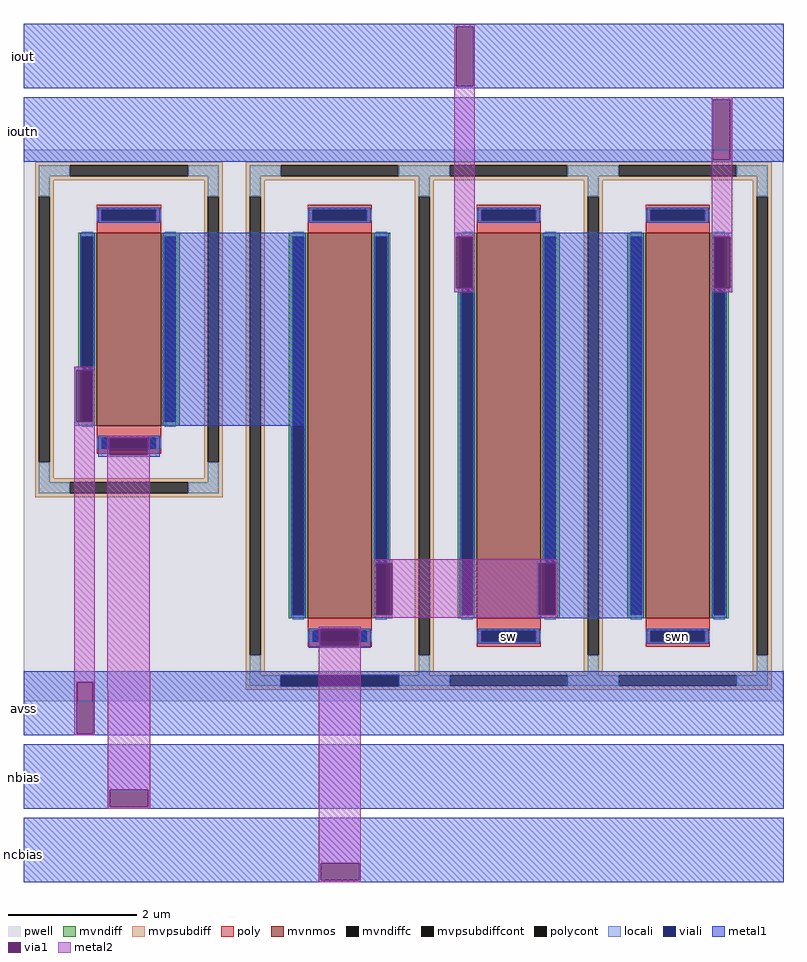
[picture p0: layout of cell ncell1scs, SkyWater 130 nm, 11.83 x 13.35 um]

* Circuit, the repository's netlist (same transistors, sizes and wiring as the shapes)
* NGSPICE file created from ncell1scs.ext - technology: sky130A

.subckt sky130_fd_pr__nfet_g5v0d10v5_D8TNYB a_n158_n300# a_n100_n388# a_100_n300#
+ a_n292_n522#
X0 a_100_n300# a_n100_n388# a_n158_n300# a_n292_n522# sky130_fd_pr__nfet_g5v0d10v5 ad=0.87 pd=6.58 as=0.87 ps=6.58 w=3 l=1
.ends

.subckt sky130_fd_pr__nfet_g5v0d10v5_BHMQGH a_n158_n600# a_n100_n688# a_100_n600#
+ a_n292_n822#
X0 a_100_n600# a_n100_n688# a_n158_n600# a_n292_n822# sky130_fd_pr__nfet_g5v0d10v5 ad=1.74 pd=12.58 as=1.74 ps=12.58 w=6 l=1
.ends

.subckt ncell1scs iout ioutn sw ncbias nbias avss swn
Xsky130_fd_pr__nfet_g5v0d10v5_D8TNYB_0 avss nbias m1_583_n1672# avss sky130_fd_pr__nfet_g5v0d10v5_D8TNYB
XXM1 iout sw m1_1239_n2272# avss sky130_fd_pr__nfet_g5v0d10v5_BHMQGH
XXM2 m1_1239_n2272# swn ioutn avss sky130_fd_pr__nfet_g5v0d10v5_BHMQGH
Xsky130_fd_pr__nfet_g5v0d10v5_BHMQGH_0 m1_583_n1672# ncbias m1_1239_n2272# avss sky130_fd_pr__nfet_g5v0d10v5_BHMQGH
.ends

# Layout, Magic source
magic
tech sky130A
magscale 1 2
<< pwell >>
rect 149 -2436 805 -1930
rect 1239 -2272 1811 -2088
rect 149 -2472 806 -2436
rect 149 -2530 805 -2472
<< viali >>
rect 949 -2483 1317 -2448
<< metal1 >>
rect 149 -430 2514 -422
rect 149 -616 1496 -430
rect 1548 -616 2514 -430
rect 149 -622 2514 -616
rect 149 -658 2514 -650
rect 149 -844 2294 -658
rect 2348 -844 2514 -658
rect 149 -850 2514 -844
rect 307 -1500 371 -1488
rect 307 -1660 313 -1500
rect 365 -1660 371 -1500
rect 307 -1672 371 -1660
rect 583 -1672 1027 -1072
rect 1490 -1084 1553 -1072
rect 1490 -1244 1495 -1084
rect 1547 -1244 1553 -1084
rect 1490 -1256 1553 -1244
rect 382 -1710 573 -1704
rect 382 -1763 416 -1710
rect 536 -1763 573 -1710
rect 382 -1769 573 -1763
rect 1765 -2088 2079 -1072
rect 2291 -1084 2354 -1072
rect 2291 -1244 2297 -1084
rect 2349 -1244 2354 -1084
rect 2291 -1256 2354 -1244
rect 1239 -2100 1297 -2088
rect 1239 -2260 1245 -2100
rect 1239 -2272 1297 -2260
rect 1747 -2100 2079 -2088
rect 1747 -2260 1753 -2100
rect 1805 -2260 2079 -2100
rect 1747 -2271 2079 -2260
rect 1765 -2272 2079 -2271
rect 1036 -2357 1073 -2304
rect 1193 -2357 1229 -2304
rect 1036 -2363 1229 -2357
rect 149 -2448 2514 -2436
rect 149 -2470 949 -2448
rect 149 -2630 314 -2470
rect 366 -2483 949 -2470
rect 1317 -2483 2514 -2448
rect 366 -2630 2514 -2483
rect 149 -2636 2514 -2630
rect 149 -2805 2514 -2664
rect 149 -2858 417 -2805
rect 537 -2858 2514 -2805
rect 149 -2864 2514 -2858
rect 149 -3033 2514 -2892
rect 149 -3086 1074 -3033
rect 1194 -3086 2514 -3033
rect 149 -3092 2514 -3086
<< via1 >>
rect 1496 -616 1548 -430
rect 2294 -844 2348 -658
rect 313 -1660 365 -1500
rect 1495 -1244 1547 -1084
rect 416 -1763 536 -1710
rect 2297 -1244 2349 -1084
rect 1245 -2260 1297 -2100
rect 1753 -2260 1805 -2100
rect 1073 -2357 1193 -2304
rect 314 -2630 366 -2470
rect 417 -2858 537 -2805
rect 1074 -3086 1194 -3033
<< metal2 >>
rect 1490 -430 1553 -423
rect 1490 -616 1496 -430
rect 1548 -616 1553 -430
rect 1490 -1084 1553 -616
rect 1490 -1244 1495 -1084
rect 1547 -1244 1553 -1084
rect 1490 -1256 1553 -1244
rect 2291 -658 2354 -650
rect 2291 -844 2294 -658
rect 2348 -844 2354 -658
rect 2291 -1084 2354 -844
rect 2291 -1244 2297 -1084
rect 2349 -1244 2354 -1084
rect 2291 -1256 2354 -1244
rect 307 -1500 371 -1488
rect 307 -1660 313 -1500
rect 365 -1660 371 -1500
rect 307 -2470 371 -1660
rect 307 -2630 314 -2470
rect 366 -2630 371 -2470
rect 410 -1710 542 -1703
rect 410 -1763 416 -1710
rect 536 -1763 542 -1710
rect 410 -2436 542 -1763
rect 1239 -2100 1811 -2088
rect 1239 -2260 1245 -2100
rect 1297 -2260 1753 -2100
rect 1805 -2260 1811 -2100
rect 1239 -2270 1811 -2260
rect 1067 -2304 1199 -2298
rect 1067 -2357 1073 -2304
rect 1193 -2357 1199 -2304
rect 410 -2494 543 -2436
rect 307 -2636 371 -2630
rect 411 -2805 543 -2494
rect 411 -2858 417 -2805
rect 537 -2858 543 -2805
rect 411 -2864 543 -2858
rect 1067 -3033 1199 -2357
rect 1067 -3086 1074 -3033
rect 1194 -3086 1199 -3033
rect 1067 -3092 1199 -3086
use sky130_fd_pr__nfet_g5v0d10v5_BHMQGH  sky130_fd_pr__nfet_g5v0d10v5_BHMQGH_0
transform 1 0 1133 0 1 -1672
box -328 -858 328 858
use sky130_fd_pr__nfet_g5v0d10v5_D8TNYB  sky130_fd_pr__nfet_g5v0d10v5_D8TNYB_0
transform 1 0 477 0 1 -1372
box -328 -558 328 558
use sky130_fd_pr__nfet_g5v0d10v5_BHMQGH  XM1
transform 1 0 1659 0 1 -1672
box -328 -858 328 858
use sky130_fd_pr__nfet_g5v0d10v5_BHMQGH  XM2
transform 1 0 2185 0 1 -1672
box -328 -858 328 858
<< labels >>
flabel metal1 s 2184 -2328 2184 -2328 0 FreeSans 800 0 0 0 swn
port 7 nsew
flabel metal1 s 1658 -2328 1658 -2328 0 FreeSans 800 0 0 0 sw
port 3 nsew
flabel metal1 s 150 -2552 150 -2552 3 FreeSans 800 0 0 0 avss
port 6 e
flabel metal1 s 150 -2768 150 -2768 3 FreeSans 800 0 0 0 nbias
port 5 e
flabel metal1 s 150 -3006 150 -3006 3 FreeSans 800 0 0 0 ncbias
port 4 e
flabel metal1 s 150 -522 150 -522 3 FreeSans 800 0 0 0 iout
port 0 e
flabel metal1 s 150 -758 150 -758 3 FreeSans 800 0 0 0 ioutn
port 1 e
<< end >>

# cell sky130_fd_pr__nfet_g5v0d10v5_BHMQGH: kit device sky130_fd_pr__nfet_g5v0d10v5, w 6.0 l 1.0 m 1 nf 1 diffcov 100 polycov 100 guard 1 glc 1 grc 1 gtc 1 gbc 1 tbcov 100 rlcov 100 topc 1 botc 1 poverlap 0 doverlap 1 lmin 0.50 wmin 0.42 compatible {sky130_fd_pr__nfet_01v8 sky130_fd_pr__nfet_01v8_lvt sky130_fd_bs_flash__special_sonosfet_star sky130_fd_pr__nfet_g5v0d10v5 sky130_fd_pr__nfet_05v0_nvt sky130_fd_pr__nfet_03v3_nvt} full_metal 1 viasrc 100 viadrn 100 viagate 100 viagb 0 viagr 0 viagl 0 viagt 0

# cell sky130_fd_pr__nfet_g5v0d10v5_D8TNYB: kit device sky130_fd_pr__nfet_g5v0d10v5, w 3.0 l 1.0 m 1 nf 1 diffcov 100 polycov 100 guard 1 glc 1 grc 1 gtc 1 gbc 1 tbcov 100 rlcov 100 topc 1 botc 1 poverlap 0 doverlap 1 lmin 0.50 wmin 0.42 compatible {sky130_fd_pr__nfet_01v8 sky130_fd_pr__nfet_01v8_lvt sky130_fd_bs_flash__special_sonosfet_star sky130_fd_pr__nfet_g5v0d10v5 sky130_fd_pr__nfet_05v0_nvt sky130_fd_pr__nfet_03v3_nvt} full_metal 1 viasrc 100 viadrn 100 viagate 100 viagb 0 viagr 0 viagl 0 viagt 0
